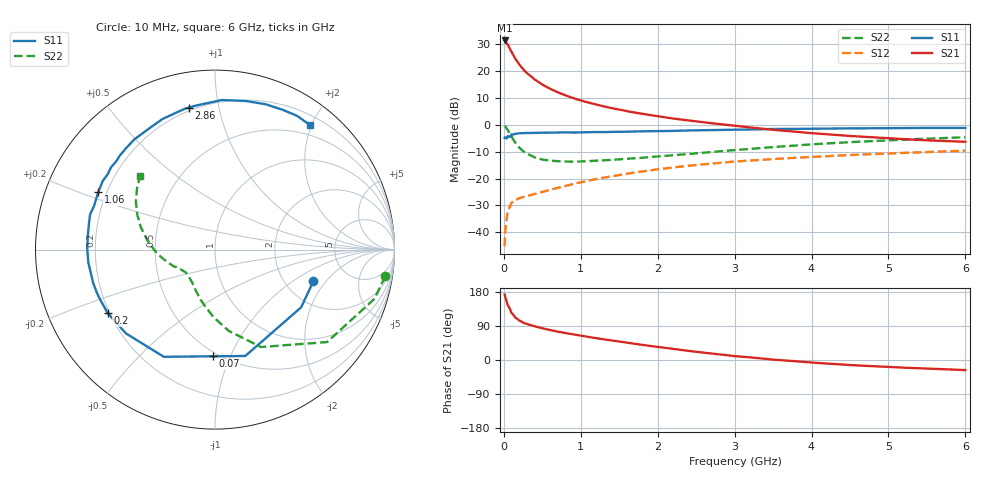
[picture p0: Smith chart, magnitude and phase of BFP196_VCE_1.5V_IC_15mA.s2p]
! Infineon Technologies  Discrete & RF Semiconductors
! BFP196
! VCE = 1.5 V,  IC =  15mA
! Common Emitter S-Parameters:  Jan 2016
# GHz  S  MA  R  50
!  f  S11  S21  S12  S22
! GHz  MAG  ANG  MAG  ANG  MAG  ANG  MAG  ANG
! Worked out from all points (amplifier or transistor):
!   210 points, 10 MHz to 6 GHz, reference 50 ohm
!   highest |S21| = 31.4 dB at 10 MHz (marker M1)
!   |S21| within 3 dB of that: start of sweep to 76.14 MHz
!   unconditionally stable (mu >= 1): 754 MHz to 3.46 GHz; 3.58 GHz to 3.964 GHz
!   at 185 MHz: K = 0.41, MSG = 25.3 dB, |S12| = -27.5 dB
!   at 1.52 GHz: K = 1.13, MAG = 9.9 dB, |S12| = -18.6 dB
!   at 6 GHz: K = 0.99, MSG = 1.7 dB, |S12| = -9.7 dB
!   S11 on the Smith chart (normalised r, x): 10 MHz: 2.84, -1.50; 70 MHz: 0.47, -0.86; 200 MHz: 0.19, -0.26; 1.06 GHz: 0.17, +0.23; 2.86 GHz: 0.18, +0.82; 6 GHz: 0.34, +1.97
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0.01  0.576 -17.8  37.12 172.9  0.0055 83.2  0.9601 -8.9
0.02  0.5776 -33.9  35.8 164.3  0.0112 76.4  0.9301 -17.1
0.05  0.6161 -74.1  31.2 145.1  0.0239 60.1  0.8097 -39.5
0.07  0.5946 -91.2  27.36 138.3  0.0282 52.7  0.7102 -47.8
0.1  0.6619 -115.5  22.64 124.0  0.0353 45.1  0.5999 -64.8
0.15  0.6815 -136.8  16.85 111.7  0.0398 38.4  0.4593 -80.4
0.2  0.6948 -149.5  13.28 104.1  0.0431 36.5  0.377 -91.2
0.26  0.7005 -159.7  10.47 97.9  0.0457 36.6  0.3157 -100.8
0.3  0.7038 -164.5  9.134 94.7  0.0472 37.2  0.2898 -106.2
0.4  0.7095 -174.2  6.962 88.7  0.0513 39.1  0.2475 -116.5
0.5  0.7119 179.6  5.586 83.7  0.0562 41.1  0.2254 -123.8
0.6  0.7129 173.6  4.685 79.0  0.0616 43.4  0.215 -129.5
0.7  0.7172 168.4  4.03 74.7  0.0669 44.9  0.2096 -133.9
1.02  0.7225 155.1  2.785 63.6  0.0862 47.9  0.2077 -143.0
1.06  0.7246 153.7  2.685 62.2  0.0887 48.1  0.2092 -143.8
1.4  0.7389 141.7  2.041 51.7  0.1096 48.1  0.2216 -150.1
2.02  0.7623 122.8  1.425 34.1  0.1494 43.9  0.2582 -161.2
2.86  0.8045 100.5  1.008 13.5  0.1989 35.0  0.3254 -177.0
3.1  0.8125 95.4  0.924 8.7  0.2112 32.0  0.3466 178.5
4.1  0.8468 76.8  0.682 -8.1  0.2564 20.6  0.4411 161.4
5.1  0.8664 63.0  0.551 -19.4  0.2965 9.4  0.5217 147.4
6  0.8728 52.7  0.483 -26.6  0.3289 -0.8  0.5852 135.5
